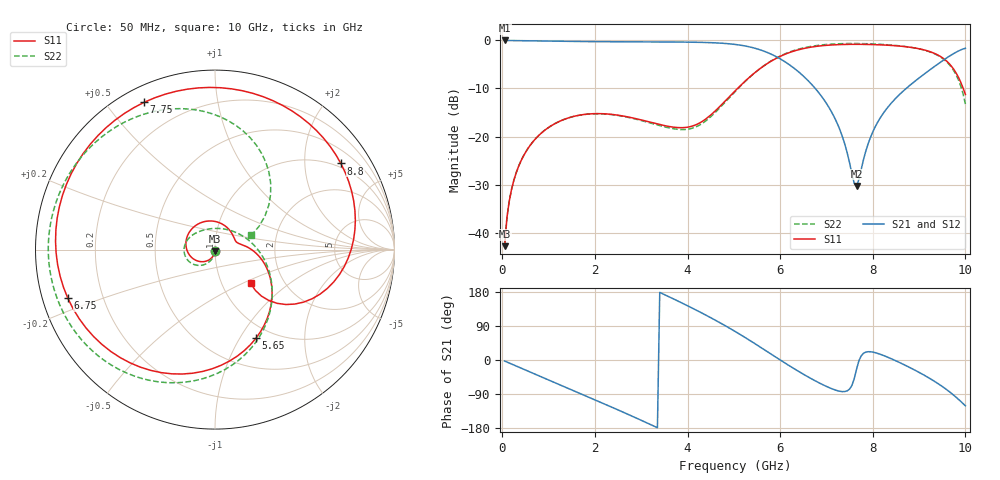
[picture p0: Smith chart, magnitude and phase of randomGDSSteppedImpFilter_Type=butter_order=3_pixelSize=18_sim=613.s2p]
! freq	dB(S11)	phase(S11)	dB(S12)	phase(S12)
!  dB(S21)	phase(S21)	dB(S22)	phase(S22)
!S-par simulation data
#  GHz  S  DB  R 50
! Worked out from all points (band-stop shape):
!   200 points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, 50 MHz to 10 GHz, reference 50 ohm
!   highest |S21| = -0.01 dB at 50 MHz (marker M1); lowest = -30.3 dB at 7.65 GHz (marker M2)
!   |S21| within 3 dB of the highest: start of sweep to 5.839 GHz; 9.699 GHz to end of sweep
!   lowest |S11| = -42.8 dB at 50 MHz (marker M3), VSWR 1.01, Z = 50 - j0.721 ohm
!   |S11| at or under -10 dB: start of sweep to 5.08 GHz; 9.953375 GHz to end of sweep
!   |S22| runs from -42.8 to -0.6 dB; largest |S21 - S12| = 0
!   S11 on the Smith chart (normalised r, x): 50 MHz: 1.00, -0.01; 5.65 GHz: 0.84, -1.18; 6.75 GHz: 0.08, -0.16; 7.75 GHz: 0.07, +0.63; 8.8 GHz: 0.87, +3.00; 10 GHz: 1.37, -0.56
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0.05  -42.83 -91.3  -0.01 -2.7  -0.01 -2.7  -42.82 -90.5
0.2  -31.00 -102.1  -0.02 -10.6  -0.02 -10.6  -30.98 -98.7
0.5  -23.32 -121.1  -0.06 -26.5  -0.06 -26.5  -23.31 -112.7
1.15  -17.25 -161.4  -0.15 -60.5  -0.15 -60.5  -17.23 -141.3
1.75  -15.43 160.6  -0.23 -91.9  -0.23 -91.9  -15.44 -166.2
2.5  -15.57 110.4  -0.28 -131.7  -0.28 -131.7  -15.62 164.3
3.4  -17.51 49.2  -0.31 178.4  -0.31 178.4  -17.73 126.1
4.35  -16.65 11.7  -0.42 121.4  -0.42 121.4  -17.06 47.9
5.05  -10.28 -19.6  -0.86 73.7  -0.86 73.7  -10.41 -16.7
5.65  -5.28 -65.3  -2.23 27.8  -2.23 27.8  -5.26 -63.1
6.2  -2.52 -113.6  -5.06 -15.3  -5.06 -15.3  -2.42 -102.6
6.7  -1.34 -157.4  -9.36 -51.2  -9.36 -51.2  -1.19 -134.7
6.75  -1.27 -161.7  -9.90 -54.5  -9.90 -54.5  -1.12 -137.7
7.2  -0.90 160.4  -16.58 -79.6  -16.58 -79.6  -0.72 -162.7
7.65  -0.81 123.7  -30.32 -24.2  -30.32 -24.2  -0.64 174.5
7.75  -0.81 115.7  -26.84 11.0  -26.84 11.0  -0.66 169.6
8  -0.86 95.8  -19.05 20.9  -19.05 20.9  -0.73 157.5
8.35  -1.01 68.6  -13.61 6.0  -13.61 6.0  -0.92 140.5
8.8  -1.41 34.4  -9.35 -19.9  -9.35 -19.9  -1.40 117.5
9.45  -3.28 -15.2  -4.61 -65.6  -4.61 -65.6  -3.38 76.4
9.75  -6.03 -37.8  -2.71 -93.1  -2.71 -93.1  -6.32 50.1
10  -11.24 -43.4  -1.63 -120.9  -1.63 -120.9  -13.25 21.5
